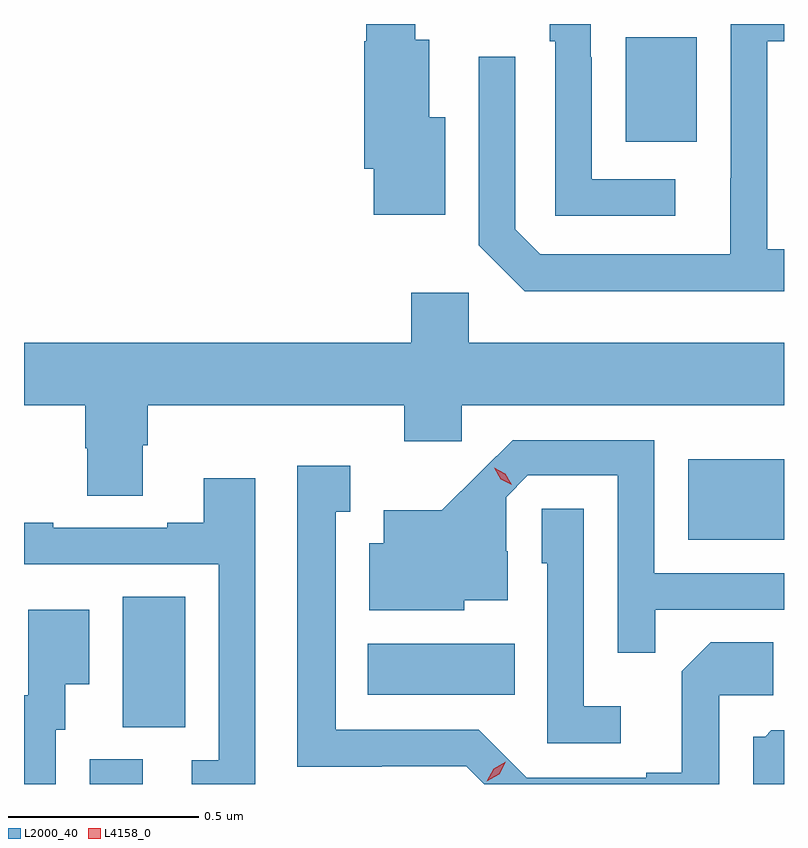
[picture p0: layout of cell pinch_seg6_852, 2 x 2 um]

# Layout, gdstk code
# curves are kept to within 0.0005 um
import gdstk
lib = gdstk.Library(unit=1e-6, precision=1e-09)
def R(c, l, rs):  # rectangles x0, y0, x1, y1
    for r in rs: c.add(gdstk.rectangle(r[:2], r[2:], *l))
def P(c, l, *ps):  # polygons
    for p in ps: c.add(gdstk.Polygon(p, *l))
L2000_40 = (2000, 40)
L4158_0 = (4158, 0)

pinch_seg6_852 = lib.new_cell('pinch_seg6_852')
R(pinch_seg6_852, L2000_40, [(130.865,974.311,131.005,974.376), (130.952,974.461,131.116,974.804), (131.597,974.546,131.984,974.68), (132.44,974.954,132.692,975.166), (132.275,976.001,132.463,976.276)])
P(pinch_seg6_852, L2000_40, [(131.8,976.066),(131.758,976.066),(131.758,976.27),(131.722,976.27),(131.722,976.311),(131.593,976.311),(131.593,976.266),(131.588,976.266),(131.588,975.93),(131.612,975.93),(131.612,975.809),(131.8,975.809)],
  [(132.406,975.903),(132.186,975.903),(132.186,976.223),(132.183,976.223),(132.183,976.311),(132.075,976.311),(132.075,976.265),(132.09,976.265),(132.09,975.807),(132.406,975.807)],
  [(132.692,975.718),(132.648,975.718),(132.648,976.266),(132.692,976.266),(132.692,976.311),(132.552,976.311),(132.552,975.905),(132.551,975.905),(132.551,975.705),(132.051,975.705),(131.985,975.771),(131.985,976.225),(131.889,976.225),(131.889,975.729),(132.01,975.608),(132.692,975.608)],
  [(131.005,975.202),(131.018,975.202),(131.018,975.308),(131.693,975.308),(131.693,975.213),(131.844,975.213),(131.844,975.308),(132.692,975.308),(132.692,975.472),(131.862,975.472),(131.862,975.604),(131.711,975.604),(131.711,975.472),(130.692,975.472),(130.692,975.308),(130.853,975.308),(130.853,975.195),(130.858,975.195),(130.858,975.07),(131.005,975.07)],
  [(132.353,974.769),(132.692,974.769),(132.692,974.865),(132.351,974.865),(132.351,975.216),(131.978,975.216),(131.791,975.031),(131.639,975.031),(131.639,974.944),(131.6,974.944),(131.6,974.768),(131.85,974.768),(131.85,974.795),(131.965,974.795),(131.965,974.924),(131.961,974.924),(131.961,975.066),(132.018,975.123),(132.255,975.123),(132.255,974.656),(132.353,974.656)],
  [(132.522,974.544),(132.664,974.544),(132.664,974.684),(132.499,974.684),(132.423,974.608),(132.423,974.341),(132.329,974.341),(132.329,974.328),(132.015,974.328),(131.889,974.454),(131.512,974.454),(131.512,975.027),(131.551,975.027),(131.551,975.148),(131.411,975.148),(131.411,974.357),(131.634,974.357),(131.634,974.358),(131.856,974.358),(131.903,974.311),(132.522,974.311)],
  [(131.301,975.115),(131.165,975.115),(131.165,974.998),(131.069,974.998),(131.069,974.985),(130.769,974.985),(130.769,974.998),(130.692,974.998),(130.692,974.889),(131.205,974.889),(131.205,974.373),(131.133,974.373),(131.133,974.311),(131.301,974.311)],
  [(132.262,974.515),(132.165,974.515),(132.165,975.035),(132.054,975.035),(132.054,974.892),(132.069,974.892),(132.069,974.418),(132.262,974.418)],
  [(130.776,974.454),(130.801,974.454),(130.801,974.573),(130.864,974.573),(130.864,974.77),(130.703,974.77),(130.703,974.544),(130.692,974.544),(130.692,974.311),(130.776,974.311)],
  [(132.692,974.452),(132.658,974.452),(132.642,974.436),(132.611,974.436),(132.611,974.311),(132.692,974.311)])
P(pinch_seg6_852, L4158_0, [(131.976,975.098),(131.946,975.113),(131.929,975.143),(131.929,975.143),(131.929,975.143),(131.959,975.128),(131.976,975.098),(131.976,975.098)],
  [(131.91,974.318),(131.91,974.318),(131.928,974.351),(131.96,974.37),(131.96,974.37),(131.96,974.369),(131.942,974.337),(131.91,974.318)])

lib.write_gds('pinch_seg6_852.gds')
